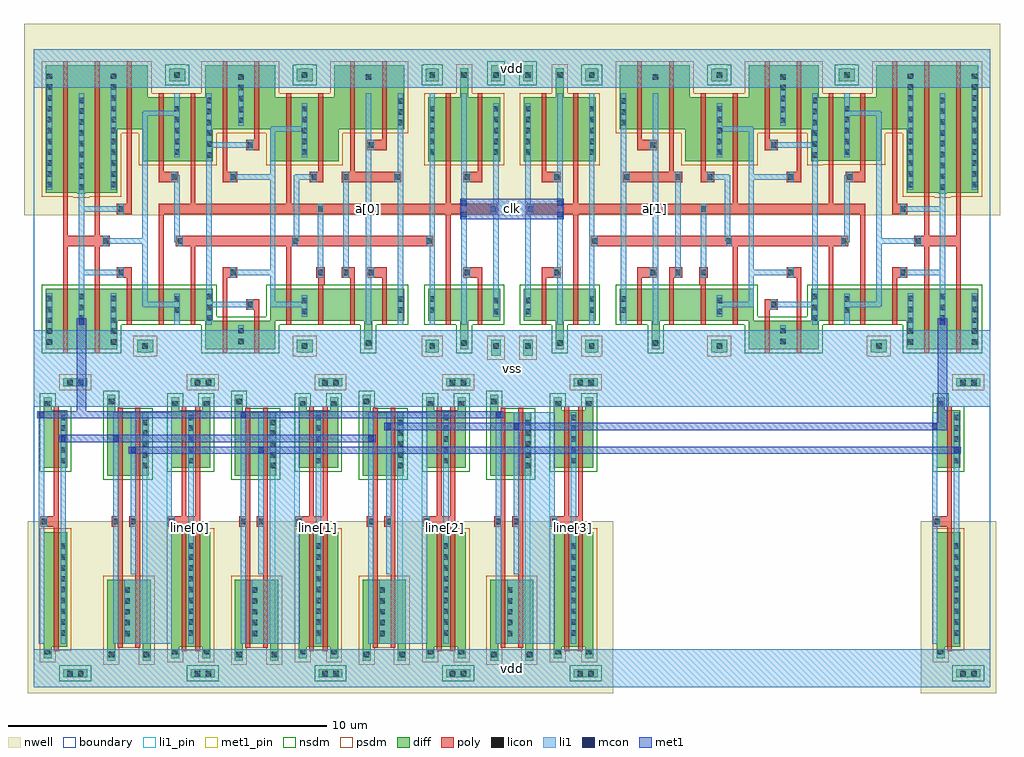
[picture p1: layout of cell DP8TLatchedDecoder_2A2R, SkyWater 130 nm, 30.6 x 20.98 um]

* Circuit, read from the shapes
.subckt DP8TLatchedDecoder_2A2R a[0] a[1] clk line[0] line[1] line[2] line[3] vdd vss
XM1 nand2_x0_4/i0 inv_x1_2/i vss VSUBS sky130_fd_pr__nfet_01v8 w=1.8 l=0.15
XM2 inv_x1_2/i n1 vss VSUBS sky130_fd_pr__nfet_01v8 w=1.9 l=0.15 m=2
XM3 n2 nand2_x0_4/i0 vss VSUBS sky130_fd_pr__nfet_01v8 w=2 l=0.15
XM4 n3 inv_x1_2/i vss VSUBS sky130_fd_pr__nfet_01v8 w=1 l=0.15
XM5 inv_x2_5/i nand2_x0_4/i1 n2 VSUBS sky130_fd_pr__nfet_01v8 w=2 l=0.15
XM6 n1 n4 n3 VSUBS sky130_fd_pr__nfet_01v8 w=1 l=0.15
XM7 line[0] inv_x2_5/i vss VSUBS sky130_fd_pr__nfet_01v8 w=1.8 l=0.15 m=2
XM8 n5 n6 n1 VSUBS sky130_fd_pr__nfet_01v8 w=1 l=0.15
XM9 vss n7 n5 VSUBS sky130_fd_pr__nfet_01v8 w=0.9 l=0.15
XM10 n8 inv_x1_2/i vss VSUBS sky130_fd_pr__nfet_01v8 w=2 l=0.15
XM11 n9 n5 vss VSUBS sky130_fd_pr__nfet_01v8 w=0.9 l=0.15
XM12 inv_x2_7/i nand2_x0_4/i1 n8 VSUBS sky130_fd_pr__nfet_01v8 w=2 l=0.15
XM13 n7 n6 n9 VSUBS sky130_fd_pr__nfet_01v8 w=1 l=0.15
XM14 line[1] inv_x2_7/i vss VSUBS sky130_fd_pr__nfet_01v8 w=1.8 l=0.15 m=2
XM15 n10 n4 n7 VSUBS sky130_fd_pr__nfet_01v8 w=1 l=0.15
XM16 vss n11 n10 VSUBS sky130_fd_pr__nfet_01v8 w=1 l=0.15
XM17 n12 nand2_x0_4/i0 vss VSUBS sky130_fd_pr__nfet_01v8 w=2 l=0.15
XM18 n11 a[0] vss VSUBS sky130_fd_pr__nfet_01v8 w=1 l=0.15
XM19 inv_x2_9/i inv_x1_3/i n12 VSUBS sky130_fd_pr__nfet_01v8 w=2 l=0.15
XM20 line[2] inv_x2_9/i vss VSUBS sky130_fd_pr__nfet_01v8 w=1.8 l=0.15 m=2
XM21 vss n4 n6 VSUBS sky130_fd_pr__nfet_01v8 w=1 l=0.15
XM22 n4 clk vss VSUBS sky130_fd_pr__nfet_01v8 w=1 l=0.15
XM23 n13 inv_x1_2/i vss VSUBS sky130_fd_pr__nfet_01v8 w=2 l=0.15
XM24 inv_x2_11/i inv_x1_3/i n13 VSUBS sky130_fd_pr__nfet_01v8 w=2 l=0.15
XM25 vss clk n14 VSUBS sky130_fd_pr__nfet_01v8 w=1 l=0.15
XM26 line[3] inv_x2_11/i vss VSUBS sky130_fd_pr__nfet_01v8 w=1.8 l=0.15 m=2
XM27 n15 n14 vss VSUBS sky130_fd_pr__nfet_01v8 w=1 l=0.15
XM28 vss a[1] n16 VSUBS sky130_fd_pr__nfet_01v8 w=1 l=0.15
XM29 n17 n16 vss VSUBS sky130_fd_pr__nfet_01v8 w=1 l=0.15
XM30 n18 n14 n17 VSUBS sky130_fd_pr__nfet_01v8 w=1 l=0.15
XM31 n19 n15 n18 VSUBS sky130_fd_pr__nfet_01v8 w=1 l=0.15
XM32 vss n20 n19 VSUBS sky130_fd_pr__nfet_01v8 w=0.9 l=0.15
XM33 n20 n18 vss VSUBS sky130_fd_pr__nfet_01v8 w=0.9 l=0.15
XM34 n21 n15 n20 VSUBS sky130_fd_pr__nfet_01v8 w=1 l=0.15
XM35 n22 n14 n21 VSUBS sky130_fd_pr__nfet_01v8 w=1 l=0.15
XM36 vss inv_x1_3/i n22 VSUBS sky130_fd_pr__nfet_01v8 w=1 l=0.15
XM37 inv_x1_3/i n21 vss VSUBS sky130_fd_pr__nfet_01v8 w=1.9 l=0.15 m=2
XM38 nand2_x0_4/i1 inv_x1_3/i vss VSUBS sky130_fd_pr__nfet_01v8 w=1.8 l=0.15
XM39 nand2_x0_4/i0 inv_x1_2/i vdd n23 sky130_fd_pr__pfet_01v8 w=3.6 l=0.15
XM40 inv_x1_2/i n1 vdd n24 sky130_fd_pr__pfet_01v8 w=4 l=0.15 m=2
XM41 inv_x2_5/i nand2_x0_4/i0 vdd n23 sky130_fd_pr__pfet_01v8 w=2 l=0.15
XM42 n25 inv_x1_2/i vdd n24 sky130_fd_pr__pfet_01v8 w=2 l=0.15
XM43 vdd nand2_x0_4/i1 inv_x2_5/i n23 sky130_fd_pr__pfet_01v8 w=2 l=0.15
XM44 n1 n6 n25 n24 sky130_fd_pr__pfet_01v8 w=2 l=0.15
XM45 line[0] inv_x2_5/i vdd n23 sky130_fd_pr__pfet_01v8 w=3.6 l=0.15 m=2
XM46 n5 n4 n1 n24 sky130_fd_pr__pfet_01v8 w=2 l=0.15
XM47 vdd n7 n5 n24 sky130_fd_pr__pfet_01v8 w=2 l=0.15
XM48 inv_x2_7/i inv_x1_2/i vdd n23 sky130_fd_pr__pfet_01v8 w=2 l=0.15
XM49 n26 n5 vdd n24 sky130_fd_pr__pfet_01v8 w=2 l=0.15
XM50 vdd nand2_x0_4/i1 inv_x2_7/i n23 sky130_fd_pr__pfet_01v8 w=2 l=0.15
XM51 n7 n4 n26 n24 sky130_fd_pr__pfet_01v8 w=2 l=0.15
XM52 line[1] inv_x2_7/i vdd n23 sky130_fd_pr__pfet_01v8 w=3.6 l=0.15 m=2
XM53 n27 n6 n7 n24 sky130_fd_pr__pfet_01v8 w=2 l=0.15
XM54 vdd n11 n27 n24 sky130_fd_pr__pfet_01v8 w=2 l=0.15
XM55 inv_x2_9/i nand2_x0_4/i0 vdd n23 sky130_fd_pr__pfet_01v8 w=2 l=0.15
XM56 n11 a[0] vdd n24 sky130_fd_pr__pfet_01v8 w=2 l=0.15
XM57 vdd inv_x1_3/i inv_x2_9/i n23 sky130_fd_pr__pfet_01v8 w=2 l=0.15
XM58 line[2] inv_x2_9/i vdd n23 sky130_fd_pr__pfet_01v8 w=3.6 l=0.15 m=2
XM59 vdd n4 n6 n24 sky130_fd_pr__pfet_01v8 w=2 l=0.15
XM60 n4 clk vdd n24 sky130_fd_pr__pfet_01v8 w=2 l=0.15
XM61 inv_x2_11/i inv_x1_2/i vdd n23 sky130_fd_pr__pfet_01v8 w=2 l=0.15
XM62 vdd inv_x1_3/i inv_x2_11/i n23 sky130_fd_pr__pfet_01v8 w=2 l=0.15
XM63 vdd clk n14 n24 sky130_fd_pr__pfet_01v8 w=2 l=0.15
XM64 line[3] inv_x2_11/i vdd n23 sky130_fd_pr__pfet_01v8 w=3.6 l=0.15 m=2
XM65 n15 n14 vdd n24 sky130_fd_pr__pfet_01v8 w=2 l=0.15
XM66 vdd a[1] n16 n24 sky130_fd_pr__pfet_01v8 w=2 l=0.15
XM67 n28 n16 vdd n24 sky130_fd_pr__pfet_01v8 w=2 l=0.15
XM68 n18 n15 n28 n24 sky130_fd_pr__pfet_01v8 w=2 l=0.15
XM69 n29 n14 n18 n24 sky130_fd_pr__pfet_01v8 w=2 l=0.15
XM70 vdd n20 n29 n24 sky130_fd_pr__pfet_01v8 w=2 l=0.15
XM71 n20 n18 vdd n24 sky130_fd_pr__pfet_01v8 w=2 l=0.15
XM72 n21 n14 n20 n24 sky130_fd_pr__pfet_01v8 w=2 l=0.15
XM73 n30 n15 n21 n24 sky130_fd_pr__pfet_01v8 w=2 l=0.15
XM74 vdd inv_x1_3/i n30 n24 sky130_fd_pr__pfet_01v8 w=2 l=0.15
XM75 inv_x1_3/i n21 vdd n24 sky130_fd_pr__pfet_01v8 w=4 l=0.15 m=2
XM76 nand2_x0_4/i1 inv_x1_3/i vdd n31 sky130_fd_pr__pfet_01v8 w=3.6 l=0.15
.ends

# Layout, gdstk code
from math import pi, radians
import gdstk
lib = gdstk.Library(unit=1e-6, precision=1e-09)
def R(c, l, rs):  # rectangles x0, y0, x1, y1
    for r in rs: c.add(gdstk.rectangle(r[:2], r[2:], *l))
def A(c, l, x, y, w, h, nx, ny, dx, dy):  # array of equal rectangles
    R(c, l, [(x+i*dx, y+j*dy, x+i*dx+w, y+j*dy+h) for i in range(nx) for j in range(ny)])
def P(c, l, *ps):  # polygons
    for p in ps: c.add(gdstk.Polygon(p, *l))
nwell = (64, 20)
diff = (65, 20)
poly = (66, 20)
licon = (66, 44)
li1_pin = (67, 16)
li1 = (67, 20)
mcon = (67, 44)
met1_pin = (68, 16)
met1 = (68, 20)
nsdm = (93, 44)
psdm = (94, 20)
boundary = (235, 4)

sff1_x4 = lib.new_cell('sff1_x4')
R(sff1_x4, nwell, [(-0.3,4.8,15.3,10.8)])
P(sff1_x4, diff, [(0.375,6.5),(0.375,8.5),(1.375,8.5),(1.375,9.405),(1.625,9.405),(1.625,8.5),(2.625,8.5),(2.625,6.5)],
  [(1.375,0.595),(1.375,1.5),(0.375,1.5),(0.375,2.5),(2.625,2.5),(2.625,1.5),(1.625,1.5),(1.625,0.595)],
  [(13.375,5.48),(13.375,5.5),(12.375,5.5),(12.375,7.5),(11.575,7.5),(11.575,6.5),(9.625,6.5),(9.625,6.49),(9.375,6.49),(9.375,7.5),(7.575,7.5),(7.575,6.5),(5.425,6.5),(5.425,7.5),(3.375,7.5),(3.375,9.5),(5.575,9.5),(5.575,8.5),(7.425,8.5),(7.425,9.5),(9.625,9.5),(9.625,8.5),(11.425,8.5),(11.425,9.5),(14.625,9.5),(14.625,5.5),(13.625,5.5),(13.625,5.48)],
  [(6.375,8.995),(6.375,9),(6.25,9),(6.25,9.4),(6.375,9.4),(6.375,9.405),(6.625,9.405),(6.625,9.4),(6.75,9.4),(6.75,9),(6.625,9),(6.625,8.995)],
  [(2.375,8.995),(2.375,9),(2.3,9),(2.3,9.4),(2.375,9.4),(2.375,9.405),(2.625,9.405),(2.625,9.4),(2.7,9.4),(2.7,9),(2.625,9),(2.625,8.995)],
  [(0.375,8.995),(0.375,9),(0.35,9),(0.35,9.5),(0.65,9.5),(0.65,9),(0.625,9),(0.625,8.995)],
  [(10.375,8.995),(10.375,9),(10.25,9),(10.25,9.4),(10.375,9.4),(10.375,9.405),(10.625,9.405),(10.625,9.4),(10.75,9.4),(10.75,9),(10.625,9),(10.625,8.995)],
  [(4.375,0.595),(4.375,1.5),(3.375,1.5),(3.375,2.5),(7.575,2.5),(7.575,1.5),(9.375,1.5),(9.375,2.5),(14.625,2.5),(14.625,0.6),(12.375,0.6),(12.375,1.5),(9.625,1.5),(9.625,0.6),(7.425,0.6),(7.425,1.5),(4.625,1.5),(4.625,0.595)],
  [(6.375,0.495),(6.375,0.5),(6.25,0.5),(6.25,0.9),(6.375,0.9),(6.375,0.905),(6.625,0.905),(6.625,0.9),(6.75,0.9),(6.75,0.5),(6.625,0.5),(6.625,0.495)],
  [(2.375,0.495),(2.375,0.5),(2.3,0.5),(2.3,0.9),(2.375,0.9),(2.375,0.905),(2.625,0.905),(2.625,0.9),(2.7,0.9),(2.7,0.5),(2.625,0.5),(2.625,0.495)],
  [(11.375,0.495),(11.375,0.5),(11.25,0.5),(11.25,0.9),(11.375,0.9),(11.375,0.905),(11.625,0.905),(11.625,0.9),(11.75,0.9),(11.75,0.5),(11.625,0.5),(11.625,0.495)],
  [(0.35,0.4),(0.35,0.9),(0.375,0.9),(0.375,0.905),(0.625,0.905),(0.625,0.9),(0.65,0.9),(0.65,0.4)])
P(sff1_x4, poly, [(5.925,1.37),(5.925,2.63),(5.865,2.63),(5.865,3.165),(6.135,3.165),(6.135,2.835),(6.075,2.835),(6.075,1.37)],
  [(1.925,1.37),(1.925,4.835),(0.465,4.835),(0.465,5.165),(1.925,5.165),(1.925,8.63),(2.075,8.63),(2.075,5.165),(6.925,5.165),(6.925,8.63),(7.075,8.63),(7.075,5.165),(9.925,5.165),(9.925,8.63),(10.075,8.63),(10.075,5.165),(11.075,5.165),(11.075,1.37),(10.925,1.37),(10.925,4.835),(2.075,4.835),(2.075,1.37)],
  [(0.925,5.835),(0.925,8.63),(1.075,8.63),(1.075,6.165),(1.535,6.165),(1.535,5.835)],
  [(0.925,1.37),(0.925,3.165),(1.535,3.165),(1.535,2.835),(1.075,2.835),(1.075,1.37)],
  [(8.925,0.47),(8.925,2.835),(8.615,2.835),(8.615,3.165),(9.075,3.165),(9.075,0.47)],
  [(8.615,5.835),(8.615,6.165),(8.925,6.165),(8.925,9.63),(9.075,9.63),(9.075,5.835)],
  [(5.925,5.835),(5.925,8.63),(6.075,8.63),(6.075,6.165),(6.335,6.165),(6.335,5.835)],
  [(10.465,5.835),(10.465,6.165),(10.925,6.165),(10.925,8.63),(11.075,8.63),(11.075,5.835)],
  [(6.925,1.37),(6.925,3.835),(2.465,3.835),(2.465,4.165),(10.535,4.165),(10.535,3.835),(10.075,3.835),(10.075,1.37),(9.925,1.37),(9.925,3.835),(7.075,3.835),(7.075,1.37)],
  [(7.925,0.47),(7.925,2.165),(8.335,2.165),(8.335,1.835),(8.075,1.835),(8.075,0.47)],
  [(7.925,6.835),(7.925,9.63),(8.075,9.63),(8.075,7.165),(8.335,7.165),(8.335,6.835)],
  [(12.925,0.47),(12.925,3.835),(12.615,3.835),(12.615,4.165),(12.925,4.165),(12.925,9.63),(13.075,9.63),(13.075,4.165),(13.925,4.165),(13.925,9.63),(14.075,9.63),(14.075,0.47),(13.925,0.47),(13.925,3.835),(13.075,3.835),(13.075,0.47)],
  [(3.465,5.835),(3.465,6.165),(4.925,6.165),(4.925,9.63),(5.075,9.63),(5.075,6.165),(5.335,6.165),(5.335,5.835)],
  [(4.925,1.37),(4.925,3.165),(5.335,3.165),(5.335,2.835),(5.075,2.835),(5.075,1.37)],
  [(3.925,6.835),(3.925,9.63),(4.075,9.63),(4.075,7.165),(4.535,7.165),(4.535,6.835)],
  [(3.925,1.37),(3.925,3.165),(4.535,3.165),(4.535,2.835),(4.075,2.835),(4.075,1.37)],
  [(11.925,1.37),(11.925,3.165),(12.385,3.165),(12.385,2.835),(12.075,2.835),(12.075,1.37)],
  [(11.925,4.835),(11.925,9.63),(12.075,9.63),(12.075,5.165),(12.385,5.165),(12.385,4.835)])
A(sff1_x4, licon, 12.415, 0.745, 0.17, 0.17, 1, 5, 0, 0.34)
A(sff1_x4, licon, 14.415, 0.745, 0.17, 0.17, 1, 5, 0, 0.34)
A(sff1_x4, licon, 9.415, 1.49, 0.17, 0.17, 1, 3, 0, 0.34)
A(sff1_x4, licon, 13.415, 1.49, 0.17, 0.17, 1, 3, 0, 0.34)
A(sff1_x4, licon, 4.315, 2.915, 0.17, 0.17, 3, 1, 0.8, 0)
A(sff1_x4, licon, 13.415, 5.6, 0.17, 0.17, 1, 9, 0, 0.34)
A(sff1_x4, licon, 12.415, 5.675, 0.17, 0.17, 1, 11, 0, 0.34)
A(sff1_x4, licon, 14.415, 5.675, 0.17, 0.17, 1, 11, 0, 0.34)
A(sff1_x4, licon, 9.415, 6.61, 0.17, 0.17, 1, 6, 0, 0.34)
A(sff1_x4, licon, 0.415, 6.695, 0.17, 0.17, 1, 5, 0, 0.34)
A(sff1_x4, licon, 2.415, 6.695, 0.17, 0.17, 3, 5, 4, 0.34)
A(sff1_x4, licon, 3.415, 7.62, 0.17, 0.17, 1, 3, 0, 0.34)
A(sff1_x4, licon, 8.415, 7.695, 0.17, 0.17, 1, 5, 0, 0.34)
A(sff1_x4, licon, 0.415, 9.115, 0.17, 0.17, 3, 1, 1, 0)
R(sff1_x4, licon, [(0.415,0.615,0.585,0.785), (2.415,0.615,2.585,0.785), (6.415,0.615,6.585,0.785), (11.415,0.615,11.585,0.785), (1.415,0.715,1.585,0.885), (4.415,0.715,4.585,0.885), (8.415,0.755,8.585,0.925), (8.415,1.095,8.585,1.265), (0.415,1.705,0.585,1.875), (6.415,1.705,6.585,1.875), (2.415,1.745,2.585,1.915), (3.415,1.745,3.585,1.915), (10.415,1.745,10.585,1.915), (8.115,1.915,8.285,2.085), (0.415,2.045,0.585,2.215), (6.415,2.045,6.585,2.215), (2.415,2.085,2.585,2.255), (3.415,2.085,3.585,2.255), (10.415,2.085,10.585,2.255), (1.315,2.915,1.485,3.085), (8.665,2.915,8.835,3.085), (12.165,2.915,12.335,3.085), (2.515,3.915,2.685,4.085), (6.715,3.915,6.885,4.085), (10.315,3.915,10.485,4.085), (12.665,3.915,12.835,4.085), (0.515,4.915,0.685,5.085), (5.915,4.915,6.085,5.085), (12.165,4.915,12.335,5.085), (1.315,5.915,1.485,6.085), (3.515,5.915,3.685,6.085), (5.115,5.915,5.285,6.085), (6.115,5.915,6.285,6.085), (8.665,5.915,8.835,6.085), (10.515,5.915,10.685,6.085), (4.315,6.915,4.485,7.085), (8.115,6.915,8.285,7.085), (4.415,9.045,4.585,9.215), (6.415,9.115,6.585,9.285), (10.415,9.115,10.585,9.285)])
R(sff1_x4, li1_pin, [(0,0,15,1.2), (1.415,1.37,1.585,8.63), (4.415,1.37,4.585,8.63), (13.415,1.37,13.585,8.63), (0,8.8,15,10)])
R(sff1_x4, li1, [(5.115,2.835,5.285,6.165), (5.915,2.835,6.085,5.165)])
P(sff1_x4, li1, [(0.415,1.625),(0.415,8.305),(0.585,8.305),(0.585,5.165),(0.685,5.165),(0.685,4.835),(0.585,4.835),(0.585,1.625)],
  [(12.415,5.595),(12.415,8.8),(8.585,8.8),(8.585,7.615),(8.415,7.615),(8.415,8.8),(0,8.8),(0,10),(15,10),(15,8.8),(14.585,8.8),(14.585,5.595),(14.415,5.595),(14.415,8.8),(12.585,8.8),(12.585,5.595)],
  [(1.415,1.37),(1.415,2.835),(1.315,2.835),(1.315,3.165),(1.415,3.165),(1.415,5.835),(1.315,5.835),(1.315,6.165),(1.415,6.165),(1.415,8.63),(1.585,8.63),(1.585,1.37)],
  [(0,0),(0,1.2),(8.415,1.2),(8.415,1.345),(8.585,1.345),(8.585,1.2),(12.415,1.2),(12.415,2.355),(12.585,2.355),(12.585,1.2),(14.415,1.2),(14.415,2.355),(14.585,2.355),(14.585,1.2),(15,1.2),(15,0)],
  [(6.415,1.625),(6.415,2.295),(6.585,2.295),(6.585,2.085),(7.415,2.085),(7.415,7.415),(6.585,7.415),(6.585,6.615),(6.415,6.615),(6.415,8.305),(6.585,8.305),(6.585,7.585),(7.55,7.585),(7.55,7.55),(7.585,7.55),(7.585,6.085),(8.665,6.085),(8.665,6.165),(8.835,6.165),(8.835,5.835),(8.665,5.835),(8.665,5.915),(7.585,5.915),(7.585,3.085),(8.665,3.085),(8.665,3.165),(8.835,3.165),(8.835,2.835),(8.665,2.835),(8.665,2.915),(7.585,2.915),(7.585,1.95),(7.55,1.95),(7.55,1.915),(6.585,1.915),(6.585,1.625)],
  [(6.715,3.835),(6.715,3.995),(6.665,3.995),(6.665,5.915),(6.285,5.915),(6.285,5.835),(6.115,5.835),(6.115,6.165),(6.285,6.165),(6.285,6.085),(6.8,6.085),(6.8,6.05),(6.835,6.05),(6.835,4.165),(6.885,4.165),(6.885,3.835)],
  [(2.415,1.37),(2.415,8.63),(2.585,8.63),(2.585,4.165),(2.685,4.165),(2.685,3.835),(2.585,3.835),(2.585,1.37)],
  [(10.315,3.835),(10.315,4.165),(10.415,4.165),(10.415,6.05),(10.515,6.05),(10.515,6.165),(10.685,6.165),(10.685,5.835),(10.585,5.835),(10.585,3.95),(10.485,3.95),(10.485,3.835)],
  [(9.415,1.37),(9.415,1.915),(8.285,1.915),(8.285,1.835),(8.115,1.835),(8.115,2.165),(8.285,2.165),(8.285,2.085),(9.415,2.085),(9.415,6.915),(8.285,6.915),(8.285,6.835),(8.115,6.835),(8.115,7.165),(8.285,7.165),(8.285,7.085),(9.415,7.085),(9.415,8.63),(9.585,8.63),(9.585,1.37)],
  [(10.415,1.37),(10.415,2.335),(10.585,2.335),(10.585,2.085),(11.415,2.085),(11.415,7.915),(10.585,7.915),(10.585,6.615),(10.415,6.615),(10.415,8.63),(10.585,8.63),(10.585,8.085),(11.55,8.085),(11.55,8.05),(11.585,8.05),(11.585,4.085),(12.665,4.085),(12.665,4.165),(12.835,4.165),(12.835,3.835),(12.665,3.835),(12.665,3.915),(11.585,3.915),(11.585,1.95),(11.55,1.95),(11.55,1.915),(10.585,1.915),(10.585,1.37)],
  [(3.415,1.37),(3.415,8.63),(3.585,8.63),(3.585,6.165),(3.685,6.165),(3.685,5.835),(3.585,5.835),(3.585,1.37)],
  [(4.415,1.37),(4.415,2.835),(4.315,2.835),(4.315,3.165),(4.415,3.165),(4.415,6.835),(4.315,6.835),(4.315,7.165),(4.415,7.165),(4.415,8.63),(4.585,8.63),(4.585,1.37)],
  [(13.415,1.37),(13.415,2.915),(12.335,2.915),(12.335,2.835),(12.165,2.835),(12.165,3.165),(12.335,3.165),(12.335,3.085),(13.415,3.085),(13.415,4.915),(12.335,4.915),(12.335,4.835),(12.165,4.835),(12.165,5.165),(12.335,5.165),(12.335,5.085),(13.415,5.085),(13.415,8.63),(13.585,8.63),(13.585,1.37)])
P(sff1_x4, nsdm, [(6.25,8.87),(6.25,8.875),(6.125,8.875),(6.125,9.525),(6.25,9.525),(6.25,9.53),(6.75,9.53),(6.75,9.525),(6.875,9.525),(6.875,8.875),(6.75,8.875),(6.75,8.87)],
  [(0.25,8.87),(0.25,8.875),(0.225,8.875),(0.225,9.625),(0.775,9.625),(0.775,8.875),(0.75,8.875),(0.75,8.87)],
  [(4.25,0.47),(4.25,1.375),(3.25,1.375),(3.25,2.625),(7.7,2.625),(7.7,1.625),(9.25,1.625),(9.25,2.625),(14.75,2.625),(14.75,0.475),(12.25,0.475),(12.25,1.375),(9.75,1.375),(9.75,0.475),(7.3,0.475),(7.3,1.375),(4.75,1.375),(4.75,0.47)],
  [(2.25,8.87),(2.25,8.875),(2.175,8.875),(2.175,9.525),(2.25,9.525),(2.25,9.53),(2.75,9.53),(2.75,9.525),(2.825,9.525),(2.825,8.875),(2.75,8.875),(2.75,8.87)],
  [(10.25,8.87),(10.25,8.875),(10.125,8.875),(10.125,9.525),(10.25,9.525),(10.25,9.53),(10.75,9.53),(10.75,9.525),(10.875,9.525),(10.875,8.875),(10.75,8.875),(10.75,8.87)],
  [(1.25,0.47),(1.25,1.375),(0.25,1.375),(0.25,2.625),(2.75,2.625),(2.75,1.375),(1.75,1.375),(1.75,0.47)])
P(sff1_x4, psdm, [(2.25,0.37),(2.25,0.375),(2.175,0.375),(2.175,1.025),(2.25,1.025),(2.25,1.03),(2.75,1.03),(2.75,1.025),(2.825,1.025),(2.825,0.375),(2.75,0.375),(2.75,0.37)],
  [(0.25,6.375),(0.25,8.625),(1.25,8.625),(1.25,9.53),(1.75,9.53),(1.75,8.625),(2.75,8.625),(2.75,6.375)],
  [(13.25,5.355),(13.25,5.375),(12.25,5.375),(12.25,7.375),(11.7,7.375),(11.7,6.375),(9.75,6.375),(9.75,6.365),(9.25,6.365),(9.25,7.375),(7.7,7.375),(7.7,6.375),(5.3,6.375),(5.3,7.375),(3.25,7.375),(3.25,9.625),(5.7,9.625),(5.7,8.625),(7.3,8.625),(7.3,9.625),(9.75,9.625),(9.75,8.625),(11.3,8.625),(11.3,9.625),(14.75,9.625),(14.75,5.375),(13.75,5.375),(13.75,5.355)],
  [(11.25,0.37),(11.25,0.375),(11.125,0.375),(11.125,1.025),(11.25,1.025),(11.25,1.03),(11.75,1.03),(11.75,1.025),(11.875,1.025),(11.875,0.375),(11.75,0.375),(11.75,0.37)],
  [(6.25,0.37),(6.25,0.375),(6.125,0.375),(6.125,1.025),(6.25,1.025),(6.25,1.03),(6.75,1.03),(6.75,1.025),(6.875,1.025),(6.875,0.375),(6.75,0.375),(6.75,0.37)],
  [(0.225,0.275),(0.225,1.025),(0.25,1.025),(0.25,1.03),(0.75,1.03),(0.75,1.025),(0.775,1.025),(0.775,0.275)])
sff1_x4.add(gdstk.Label('vdd', (7.5,9.4), layer=67, texttype=16))
sff1_x4.add(gdstk.Label('ck', (1.5,5), layer=67, texttype=16))
sff1_x4.add(gdstk.Label('vss', (7.5,0.6), layer=67, texttype=16))
sff1_x4.add(gdstk.Label('i', (4.5,5), layer=67, texttype=16))
sff1_x4.add(gdstk.Label('q', (13.5,5), layer=67, texttype=16))

inv_x1 = lib.new_cell('inv_x1')
R(inv_x1, nwell, [(-0.18,4.8,2.18,10.18)])
R(inv_x1, diff, [(0.935,0.315,1.685,0.565), (0.935,9.435,1.685,9.685)])
P(inv_x1, diff, [(0.315,0.91),(0.315,3.115),(1.055,3.115),(1.055,1.315),(0.565,1.315),(0.565,0.91)],
  [(0.315,5.135),(0.315,9.09),(0.565,9.09),(0.565,8.735),(1.055,8.735),(1.055,5.135)])
P(inv_x1, poly, [(0.64,1.185),(0.64,4.635),(0.205,4.635),(0.205,4.965),(0.64,4.965),(0.64,8.865),(0.79,8.865),(0.79,1.185)])
A(inv_x1, licon, 0.845, 1.45, 0.17, 0.17, 1, 5, 0, 0.34)
A(inv_x1, licon, 0.845, 5.49, 0.17, 0.17, 1, 9, 0, 0.34)
R(inv_x1, licon, [(1.055,0.355,1.225,0.525), (1.395,0.355,1.565,0.525), (0.355,1.03,0.525,1.2), (0.255,4.715,0.425,4.885), (0.355,8.8,0.525,8.97), (1.055,9.475,1.225,9.645), (1.395,9.475,1.565,9.645)])
R(inv_x1, li1_pin, [(0,0,2,1.2), (0.17,1.37,0.34,8.63), (0.845,1.37,1.015,8.63), (0,8.8,2,10)])
R(inv_x1, li1, [(0,0,2,1.2), (0.845,1.37,1.015,8.63), (0,8.8,2,10)])
P(inv_x1, li1, [(0.17,1.37),(0.17,8.63),(0.34,8.63),(0.34,4.965),(0.425,4.965),(0.425,4.635),(0.34,4.635),(0.34,1.37)])
R(inv_x1, nsdm, [(0.81,9.31,1.81,9.81)])
P(inv_x1, nsdm, [(0.19,0.785),(0.19,3.24),(1.18,3.24),(1.18,1.19),(0.69,1.19),(0.69,0.785)])
R(inv_x1, psdm, [(0.81,0.19,1.81,0.69)])
P(inv_x1, psdm, [(0.19,5.01),(0.19,9.215),(0.69,9.215),(0.69,8.86),(1.18,8.86),(1.18,5.01)])
inv_x1.add(gdstk.Label('i', (0.255,5), layer=67, texttype=16))
inv_x1.add(gdstk.Label('vss', (1,0.6), layer=67, texttype=16))
inv_x1.add(gdstk.Label('vdd', (1,9.4), layer=67, texttype=16))
inv_x1.add(gdstk.Label('nq', (0.93,5), layer=67, texttype=16))

nand2_x0 = lib.new_cell('nand2_x0')
R(nand2_x0, nwell, [(-0.18,4.8,2.18,10.18), (0.625,6.45,1.235,8.81)])
P(nand2_x0, diff, [(0.315,0.83),(0.315,3.37),(1.61,3.37),(1.61,1.37),(0.565,1.37),(0.565,0.83)],
  [(0.315,6.63),(0.315,9.17),(0.565,9.17),(0.565,8.63),(1.42,8.63),(1.42,9.17),(1.67,9.17),(1.67,6.63)])
P(nand2_x0, poly, [(0.64,1.24),(0.64,4.635),(0.445,4.635),(0.445,4.965),(0.64,4.965),(0.64,8.76),(0.79,8.76),(0.79,1.24)],
  [(1.195,1.24),(1.195,4.635),(1,4.635),(1,4.965),(1.195,4.965),(1.195,8.76),(1.345,8.76),(1.345,1.24)])
A(nand2_x0, licon, 1.4, 1.605, 0.17, 0.17, 1, 5, 0, 0.34)
A(nand2_x0, licon, 0.845, 6.865, 0.17, 0.17, 1, 5, 0, 0.34)
R(nand2_x0, licon, [(0.355,0.95,0.525,1.12), (0.495,4.715,0.665,4.885), (1.05,4.715,1.22,4.885), (0.355,8.88,0.525,9.05), (1.46,8.88,1.63,9.05)])
R(nand2_x0, li1_pin, [(0,0,2,1.2), (0.495,1.37,0.665,8.63), (1.05,1.37,1.22,6.46), (1.4,1.37,1.57,8.63), (0,8.8,2,10)])
R(nand2_x0, li1, [(0,0,2,1.2), (0.495,1.37,0.665,8.63), (1.05,1.37,1.22,6.46), (0,8.8,2,10)])
P(nand2_x0, li1, [(1.4,1.37),(1.4,6.63),(0.845,6.63),(0.845,8.63),(1.57,8.63),(1.57,1.37)])
P(nand2_x0, nsdm, [(0.19,0.705),(0.19,3.495),(1.735,3.495),(1.735,1.245),(0.69,1.245),(0.69,0.705)])
P(nand2_x0, psdm, [(0.19,6.505),(0.19,9.295),(0.69,9.295),(0.69,8.755),(1.295,8.755),(1.295,9.295),(1.795,9.295),(1.795,6.505)])
nand2_x0.add(gdstk.Label('vss', (1,0.6), layer=67, texttype=16))
nand2_x0.add(gdstk.Label('vdd', (1,9.4), layer=67, texttype=16))
nand2_x0.add(gdstk.Label('i0', (0.58,5), layer=67, texttype=16))
nand2_x0.add(gdstk.Label('nq', (1.485,5), layer=67, texttype=16))
nand2_x0.add(gdstk.Label('i1', (1.135,3.915), layer=67, texttype=16))

inv_x2 = lib.new_cell('inv_x2')
R(inv_x2, nwell, [(-0.18,4.8,2.18,10.18)])
R(inv_x2, diff, [(0.935,0.315,1.685,0.565), (0.935,9.435,1.685,9.685)])
P(inv_x2, diff, [(0.315,0.91),(0.315,3.115),(1.545,3.115),(1.545,0.91),(1.295,0.91),(1.295,1.315),(0.565,1.315),(0.565,0.91)],
  [(0.315,5.135),(0.315,9.09),(0.565,9.09),(0.565,8.735),(1.295,8.735),(1.295,9.09),(1.545,9.09),(1.545,5.135)])
P(inv_x2, poly, [(0.64,1.185),(0.64,4.635),(0.205,4.635),(0.205,4.965),(0.64,4.965),(0.64,8.865),(0.79,8.865),(0.79,4.965),(1.07,4.965),(1.07,8.865),(1.22,8.865),(1.22,1.185),(1.07,1.185),(1.07,4.635),(0.79,4.635),(0.79,1.185)])
A(inv_x2, licon, 0.845, 1.45, 0.17, 0.17, 1, 5, 0, 0.34)
A(inv_x2, licon, 0.845, 5.49, 0.17, 0.17, 1, 9, 0, 0.34)
R(inv_x2, licon, [(1.055,0.355,1.225,0.525), (1.395,0.355,1.565,0.525), (0.355,1.03,0.525,1.2), (1.335,1.03,1.505,1.2), (0.255,4.715,0.425,4.885), (0.355,8.8,0.525,8.97), (1.335,8.8,1.505,8.97), (1.055,9.475,1.225,9.645), (1.395,9.475,1.565,9.645)])
R(inv_x2, li1_pin, [(0,0,2,1.2), (0.17,1.37,0.34,8.63), (0.845,1.37,1.015,8.63), (0,8.8,2,10)])
R(inv_x2, li1, [(0,0,2,1.2), (0.845,1.37,1.015,8.63), (0,8.8,2,10)])
P(inv_x2, li1, [(0.17,1.37),(0.17,8.63),(0.34,8.63),(0.34,4.965),(0.425,4.965),(0.425,4.635),(0.34,4.635),(0.34,1.37)])
R(inv_x2, nsdm, [(0.81,9.31,1.81,9.81)])
P(inv_x2, nsdm, [(0.19,0.785),(0.19,3.24),(1.67,3.24),(1.67,0.785),(1.17,0.785),(1.17,1.19),(0.69,1.19),(0.69,0.785)])
R(inv_x2, psdm, [(0.81,0.19,1.81,0.69)])
P(inv_x2, psdm, [(0.19,5.01),(0.19,9.215),(0.69,9.215),(0.69,8.86),(1.17,8.86),(1.17,9.215),(1.67,9.215),(1.67,5.01)])
inv_x2.add(gdstk.Label('i', (0.255,5), layer=67, texttype=16))
inv_x2.add(gdstk.Label('vss', (1,0.6), layer=67, texttype=16))
inv_x2.add(gdstk.Label('vdd', (1,9.4), layer=67, texttype=16))
inv_x2.add(gdstk.Label('nq', (0.93,5), layer=67, texttype=16))

dp8tlatcheddecoder_2a2r = lib.new_cell('DP8TLatchedDecoder_2A2R')
A(dp8tlatcheddecoder_2a2r, li1_pin, 4.845, -8.63, 0.17, 7.26, 4, 1, 4, 0)
R(dp8tlatcheddecoder_2a2r, li1_pin, [(0,-10,30,-8.8), (0,-1.2,30,1.2), (10.415,1.37,10.585,8.63), (19.415,1.37,19.585,8.63), (0,8.8,30,10)])
A(dp8tlatcheddecoder_2a2r, li1, 3.4, -8.63, 0.94, 7.26, 4, 1, 4, 0)
A(dp8tlatcheddecoder_2a2r, li1, 4.845, -8.63, 0.17, 7.26, 4, 1, 4, 0)
R(dp8tlatcheddecoder_2a2r, li1, [(0,-10,30,-8.8), (3.05,-2.65,3.22,-2.48), (7.05,-2.65,7.22,-2.48), (28.845,-2.65,29.015,-2.48), (0.845,-2.28,1.015,-2.11), (2.495,-2.28,2.665,-2.11), (10.495,-2.28,10.665,-2.11), (11.05,-1.91,11.22,-1.74), (15.05,-1.91,15.22,-1.74), (28.17,-1.91,28.34,-1.74), (0.17,-1.54,0.34,-1.37), (6.495,-1.54,6.665,-1.37), (14.495,-1.54,14.665,-1.37), (0,-1.2,30,1.2), (1.415,1.37,1.585,1.54), (10.415,1.37,10.585,8.63), (19.415,1.37,19.585,8.63), (28.415,1.37,28.585,1.54), (13.415,4.735,13.585,5.265), (16.415,4.735,16.585,5.265), (0,8.8,30,10)])
R(dp8tlatcheddecoder_2a2r, mcon, [(3.05,-2.65,3.22,-2.48), (7.05,-2.65,7.22,-2.48), (28.845,-2.65,29.015,-2.48), (0.845,-2.28,1.015,-2.11), (2.495,-2.28,2.665,-2.11), (10.495,-2.28,10.665,-2.11), (11.05,-1.91,11.22,-1.74), (15.05,-1.91,15.22,-1.74), (28.17,-1.91,28.34,-1.74), (0.17,-1.54,0.34,-1.37), (6.495,-1.54,6.665,-1.37), (14.495,-1.54,14.665,-1.37), (1.415,1.37,1.585,1.54), (28.415,1.37,28.585,1.54), (13.415,4.735,13.585,4.905), (16.415,4.735,16.585,4.905), (13.415,5.095,13.585,5.265), (16.415,5.095,16.585,5.265)])
R(dp8tlatcheddecoder_2a2r, met1_pin, [(13.5,4.675,16.5,5.325)])
R(dp8tlatcheddecoder_2a2r, met1, [(2.99,-2.68,29.075,-2.45), (0.785,-2.31,10.725,-2.08), (13.385,4.675,16.615,5.325)])
P(dp8tlatcheddecoder_2a2r, met1, [(0.11,-1.57),(0.11,-1.34),(1.355,-1.34),(1.355,1.57),(1.645,1.57),(1.645,-1.34),(14.725,-1.34),(14.725,-1.57)],
  [(10.99,-1.94),(10.99,-1.71),(28.355,-1.71),(28.355,1.57),(28.645,1.57),(28.645,-1.94)])
R(dp8tlatcheddecoder_2a2r, boundary, [(0,-10,30,10)])
dp8tlatcheddecoder_2a2r.add(gdstk.Reference(sff1_x4, (15,0), rotation=pi, x_reflection=True))
dp8tlatcheddecoder_2a2r.add(gdstk.Reference(sff1_x4, (15,0)))
dp8tlatcheddecoder_2a2r.add(gdstk.Reference(inv_x1, (0,0), x_reflection=True))
dp8tlatcheddecoder_2a2r.add(gdstk.Reference(inv_x1, (28,0), x_reflection=True))
dp8tlatcheddecoder_2a2r.add(gdstk.Reference(nand2_x0, (2,0), x_reflection=True))
dp8tlatcheddecoder_2a2r.add(gdstk.Reference(inv_x2, (4,0), x_reflection=True))
dp8tlatcheddecoder_2a2r.add(gdstk.Reference(nand2_x0, (6,0), x_reflection=True))
dp8tlatcheddecoder_2a2r.add(gdstk.Reference(inv_x2, (8,0), x_reflection=True))
dp8tlatcheddecoder_2a2r.add(gdstk.Reference(nand2_x0, (10,0), x_reflection=True))
dp8tlatcheddecoder_2a2r.add(gdstk.Reference(inv_x2, (12,0), x_reflection=True))
dp8tlatcheddecoder_2a2r.add(gdstk.Reference(nand2_x0, (14,0), x_reflection=True))
dp8tlatcheddecoder_2a2r.add(gdstk.Reference(inv_x2, (16,0), x_reflection=True))
dp8tlatcheddecoder_2a2r.add(gdstk.Label('clk', (15,5), layer=68, texttype=16))
dp8tlatcheddecoder_2a2r.add(gdstk.Label('vss', (15,0), layer=67, texttype=16))
dp8tlatcheddecoder_2a2r.add(gdstk.Label('vdd', (15,-9.4), layer=67, texttype=16))
dp8tlatcheddecoder_2a2r.add(gdstk.Label('vdd', (15,9.4), layer=67, texttype=16))
dp8tlatcheddecoder_2a2r.add(gdstk.Label('line[0]', (4.93,-5), layer=67, texttype=16))
dp8tlatcheddecoder_2a2r.add(gdstk.Label('line[1]', (8.93,-5), layer=67, texttype=16))
dp8tlatcheddecoder_2a2r.add(gdstk.Label('line[2]', (12.93,-5), layer=67, texttype=16))
dp8tlatcheddecoder_2a2r.add(gdstk.Label('line[3]', (16.93,-5), layer=67, texttype=16))
dp8tlatcheddecoder_2a2r.add(gdstk.Label('a[0]', (10.5,5), layer=67, texttype=16))
dp8tlatcheddecoder_2a2r.add(gdstk.Label('a[1]', (19.5,5), layer=67, texttype=16))

lib.write_gds('DP8TLatchedDecoder_2A2R.gds')
